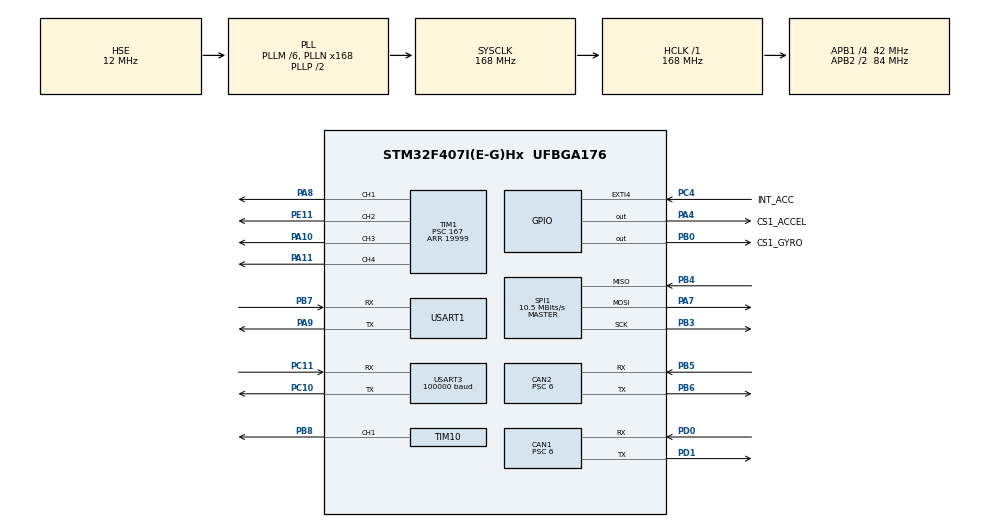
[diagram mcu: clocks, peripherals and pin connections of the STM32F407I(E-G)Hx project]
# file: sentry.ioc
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CAN1.BS1=CAN_BS1_3TQ
CAN1.BS2=CAN_BS2_3TQ
CAN1.CalculateBaudRate=1000000
CAN1.CalculateTimeBit=1000
CAN1.CalculateTimeQuantum=142.85714285714286
CAN1.Prescaler=6
CAN2.BS1=CAN_BS1_3TQ
CAN2.BS2=CAN_BS2_3TQ
CAN2.CalculateBaudRate=1000000
CAN2.CalculateTimeBit=1000
CAN2.CalculateTimeQuantum=142.85714285714286
CAN2.Prescaler=6
Dma.Request0=USART3_RX
Dma.Request1=USART1_TX
Dma.USART1_TX.1.Direction=DMA_MEMORY_TO_PERIPH
Dma.USART1_TX.1.FIFOMode=DMA_FIFOMODE_DISABLE
Dma.USART1_TX.1.Instance=DMA2_Stream7
Dma.USART1_TX.1.MemDataAlignment=DMA_MDATAALIGN_BYTE
Dma.USART1_TX.1.MemInc=DMA_MINC_ENABLE
Dma.USART1_TX.1.Mode=DMA_NORMAL
Dma.USART1_TX.1.PeriphDataAlignment=DMA_PDATAALIGN_BYTE
Dma.USART1_TX.1.PeriphInc=DMA_PINC_DISABLE
Dma.USART1_TX.1.Priority=DMA_PRIORITY_LOW
Dma.USART3_RX.0.Direction=DMA_PERIPH_TO_MEMORY
Dma.USART3_RX.0.FIFOMode=DMA_FIFOMODE_DISABLE
Dma.USART3_RX.0.Instance=DMA1_Stream1
Dma.USART3_RX.0.MemDataAlignment=DMA_MDATAALIGN_BYTE
Dma.USART3_RX.0.MemInc=DMA_MINC_ENABLE
Dma.USART3_RX.0.Mode=DMA_NORMAL
Dma.USART3_RX.0.PeriphDataAlignment=DMA_PDATAALIGN_BYTE
Dma.USART3_RX.0.PeriphInc=DMA_PINC_DISABLE
Dma.USART3_RX.0.Priority=DMA_PRIORITY_LOW
FREERTOS.Tasks01=defaultTask,24,128,StartDefaultTask,Default,NULL,Dynamic,NULL,NULL
Mcu.Family=STM32F4
Mcu.Name=STM32F407I(E-G)Hx
Mcu.Package=UFBGA176
NVIC.CAN1_RX0_IRQn=true\:5\:0\:false\:false\:true\:true\:true\:true\:true
NVIC.CAN1_RX1_IRQn=true\:5\:0\:false\:false\:true\:true\:true\:true\:true
NVIC.CAN2_RX0_IRQn=true\:5\:0\:false\:false\:true\:true\:true\:true\:true
NVIC.CAN2_RX1_IRQn=true\:5\:0\:false\:false\:true\:true\:true\:true\:true
NVIC.DMA1_Stream1_IRQn=true\:5\:0\:false\:false\:true\:true\:false\:true\:true
NVIC.DMA2_Stream7_IRQn=true\:5\:0\:false\:false\:true\:true\:false\:true\:true
NVIC.PriorityGroup=NVIC_PRIORITYGROUP_4
NVIC.TIM7_IRQn=true\:15\:0\:false\:false\:true\:false\:false\:true\:true
NVIC.TimeBase=TIM7_IRQn
NVIC.TimeBaseIP=TIM7
NVIC.USART1_IRQn=true\:5\:0\:false\:false\:true\:true\:true\:true\:true
NVIC.USART3_IRQn=true\:5\:0\:false\:false\:true\:true\:true\:true\:true
PA10.Signal=S_TIM1_CH3
PA11.Signal=S_TIM1_CH4
PA13.Mode=Serial_Wire
PA13.Signal=SYS_JTMS-SWDIO
PA14.Mode=Serial_Wire
PA14.Signal=SYS_JTCK-SWCLK
PA4.GPIO_Label=CS1_ACCEL
PA4.GPIO_PuPd=GPIO_PULLUP
PA4.GPIO_Speed=GPIO_SPEED_FREQ_HIGH
PA4.PinState=GPIO_PIN_SET
PA4.Signal=GPIO_Output
PA7.Mode=Full_Duplex_Master
PA7.Signal=SPI1_MOSI
PA8.Signal=S_TIM1_CH1
PA9.Mode=Asynchronous
PA9.Signal=USART1_TX
PB0.GPIO_Label=CS1_GYRO
PB0.GPIO_PuPd=GPIO_PULLUP
PB0.GPIO_Speed=GPIO_SPEED_FREQ_HIGH
PB0.Signal=GPIO_Output
PB3.Mode=Full_Duplex_Master
PB3.Signal=SPI1_SCK
PB4.Mode=Full_Duplex_Master
PB4.Signal=SPI1_MISO
PB5.Mode=CAN_Activate
PB5.Signal=CAN2_RX
PB6.Mode=CAN_Activate
PB6.Signal=CAN2_TX
PB7.Mode=Asynchronous
PB7.Signal=USART1_RX
PB8.Signal=S_TIM10_CH1
PC10.Mode=Asynchronous
PC10.Signal=USART3_TX
PC11.Mode=Asynchronous
PC11.Signal=USART3_RX
PC4.GPIO_Label=INT_ACC
PC4.GPIO_ModeDefaultEXTI=GPIO_MODE_IT_FALLING
PC4.Signal=GPXTI4
PD0.Mode=CAN_Activate
PD0.Signal=CAN1_RX
PD1.Mode=CAN_Activate
PD1.Signal=CAN1_TX
PE11.Signal=S_TIM1_CH2
PH0-OSC_IN.Mode=HSE-External-Oscillator
PH0-OSC_IN.Signal=RCC_OSC_IN
PH1-OSC_OUT.Mode=HSE-External-Oscillator
PH1-OSC_OUT.Signal=RCC_OSC_OUT
ProjectManager.HeapSize=0x200
ProjectManager.StackSize=0x400
ProjectManager.TargetToolchain=CMake
RCC.48MHZClocksFreq_Value=84000000
RCC.AHBFreq_Value=168000000
RCC.APB1CLKDivider=RCC_HCLK_DIV4
RCC.APB1Freq_Value=42000000
RCC.APB1TimFreq_Value=84000000
RCC.APB2CLKDivider=RCC_HCLK_DIV2
RCC.APB2Freq_Value=84000000
RCC.APB2TimFreq_Value=168000000
RCC.CortexFreq_Value=168000000
RCC.HCLKFreq_Value=168000000
RCC.HSE_VALUE=12000000
RCC.HSI_VALUE=16000000
RCC.LSE_VALUE=32768
RCC.PLLM=6
RCC.PLLN=168
RCC.PLLSourceVirtual=RCC_PLLSOURCE_HSE
RCC.SYSCLKFreq_VALUE=168000000
RCC.SYSCLKSource=RCC_SYSCLKSOURCE_PLLCLK
RCC.VCOOutputFreq_Value=336000000
SH.S_TIM10_CH1.0=TIM10_CH1,PWM Generation1 CH1
SH.S_TIM1_CH1.0=TIM1_CH1,PWM Generation1 CH1
SH.S_TIM1_CH2.0=TIM1_CH2,PWM Generation2 CH2
SH.S_TIM1_CH3.0=TIM1_CH3,PWM Generation3 CH3
SH.S_TIM1_CH4.0=TIM1_CH4,PWM Generation4 CH4
SPI1.BaudRatePrescaler=SPI_BAUDRATEPRESCALER_8
SPI1.CLKPhase=SPI_PHASE_2EDGE
SPI1.CalculateBaudRate=10.5 MBits/s
SPI1.Direction=SPI_DIRECTION_2LINES
SPI1.Mode=SPI_MODE_MASTER
SPI1.VirtualType=VM_MASTER
STMicroelectronics.X-CUBE-ALGOBUILD.1.4.0.LibraryCcDSPOoLibraryJjDSPOoLibrary=true
TIM1.Channel-PWM\ Generation1\ CH1=TIM_CHANNEL_1
TIM1.Channel-PWM\ Generation2\ CH2=TIM_CHANNEL_2
TIM1.Channel-PWM\ Generation3\ CH3=TIM_CHANNEL_3
TIM1.Channel-PWM\ Generation4\ CH4=TIM_CHANNEL_4
TIM1.Period=19999
TIM1.Prescaler=167
TIM10.Channel=TIM_CHANNEL_1
TIM10.Period=5000-1
TIM10.Prescaler=167
USART1.VirtualMode=VM_ASYNC
USART3.BaudRate=100000
USART3.Parity=PARITY_EVEN
USART3.VirtualMode=VM_ASYNC
USART3.WordLength=WORDLENGTH_9B
VP_FREERTOS_VS_CMSIS_V2.Mode=CMSIS_V2
VP_STMicroelectronics.X-CUBE-ALGOBUILD_VS_DSPOoLibraryJjLibrary_1.4.0_1.4.0.Mode=DSPOoLibraryJjLibrary
VP_SYS_VS_tim7.Mode=TIM7
VP_TIM10_VS_ClockSourceINT.Mode=Enable_Timer
VP_TIM1_VS_ClockSourceINT.Mode=Internal
board=custom

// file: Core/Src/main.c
/* USER CODE BEGIN Header */
/**
  ******************************************************************************
  * @file           : main.c
  * @brief          : Main program body
  ******************************************************************************
  * @attention
  *
  * Copyright (c) 2024 STMicroelectronics.
  * All rights reserved.
  *
  * This software is licensed under terms that can be found in the LICENSE file
  * in the root directory of this software component.
  * If no LICENSE file comes with this software, it is provided AS-IS.
  *
  ******************************************************************************
  */
/* USER CODE END Header */
#include "main.h"
#include "cmsis_os.h"
#include "can.h"
#include "dma.h"
#include "spi.h"
#include "tim.h"
#include "usart.h"
#include "gpio.h"

/* USER CODE BEGIN Includes */
#include "bsp_can.h"
#include "remote_control.h"
#include "string.h"
#include "robot.h"
/* USER CODE END Includes */

void SystemClock_Config(void);
void MX_FREERTOS_Init(void);

int main(void)
{

  /* MCU Configuration--------------------------------------------------------*/

  /* Reset of all peripherals, Initializes the Flash interface and the Systick. */
  HAL_Init();

  /* Configure the system clock */
  SystemClock_Config();

  /* Initialize all configured peripherals */
  MX_GPIO_Init();
  MX_DMA_Init();
  MX_CAN1_Init();
  MX_USART3_UART_Init();
  MX_USART1_UART_Init();
  MX_CAN2_Init();
  MX_SPI1_Init();
  MX_TIM10_Init();
  MX_TIM1_Init();
  /* USER CODE BEGIN 2 */
  RobotInit();
  /* USER CODE END 2 */

  /* Init scheduler */
  osKernelInitialize();

  /* Call init function for freertos objects (in cmsis_os2.c) */
  MX_FREERTOS_Init();

  /* Start scheduler */
  osKernelStart();

  /* We should never get here as control is now taken by the scheduler */

  /* Infinite loop */
  while (1)
  {

  }
}

void SystemClock_Config(void)
{
  RCC_OscInitTypeDef RCC_OscInitStruct = {0};
  RCC_ClkInitTypeDef RCC_ClkInitStruct = {0};

  /** Configure the main internal regulator output voltage
  */
  __HAL_RCC_PWR_CLK_ENABLE();
  __HAL_PWR_VOLTAGESCALING_CONFIG(PWR_REGULATOR_VOLTAGE_SCALE1);

  /** Initializes the RCC Oscillators according to the specified parameters
  * in the RCC_OscInitTypeDef structure.
  */
  RCC_OscInitStruct.OscillatorType = RCC_OSCILLATORTYPE_HSE;
  RCC_OscInitStruct.HSEState = RCC_HSE_ON;
  RCC_OscInitStruct.PLL.PLLState = RCC_PLL_ON;
  RCC_OscInitStruct.PLL.PLLSource = RCC_PLLSOURCE_HSE;
  RCC_OscInitStruct.PLL.PLLM = 6;
  RCC_OscInitStruct.PLL.PLLN = 168;
  RCC_OscInitStruct.PLL.PLLP = RCC_PLLP_DIV2;
  RCC_OscInitStruct.PLL.PLLQ = 4;
  if (HAL_RCC_OscConfig(&RCC_OscInitStruct) != HAL_OK)
  {
    Error_Handler();
  }

  /** Initializes the CPU, AHB and APB buses clocks
  */
  RCC_ClkInitStruct.ClockType = RCC_CLOCKTYPE_HCLK|RCC_CLOCKTYPE_SYSCLK
                              |RCC_CLOCKTYPE_PCLK1|RCC_CLOCKTYPE_PCLK2;
  RCC_ClkInitStruct.SYSCLKSource = RCC_SYSCLKSOURCE_PLLCLK;
  RCC_ClkInitStruct.AHBCLKDivider = RCC_SYSCLK_DIV1;
  RCC_ClkInitStruct.APB1CLKDivider = RCC_HCLK_DIV4;
  RCC_ClkInitStruct.APB2CLKDivider = RCC_HCLK_DIV2;

  if (HAL_RCC_ClockConfig(&RCC_ClkInitStruct, FLASH_LATENCY_5) != HAL_OK)
  {
    Error_Handler();
  }
}

/* USER CODE BEGIN 4 */
// void HAL_UARTEx_RxEventCallback(UART_HandleTypeDef *huart, uint16_t Size)
// {
//   if(huart == &huart3)
//   {
//     sbus_to_rc(buffer);
//     memset(buffer,0,Size);

//   }

//   HAL_UARTEx_ReceiveToIdle_DMA(&huart3,buffer,sizeof(buffer));
//   __HAL_DMA_DISABLE_IT(huart->hdmarx,DMA_IT_HT);
// }
/* USER CODE END 4 */

void HAL_TIM_PeriodElapsedCallback(TIM_HandleTypeDef *htim)
{
  if (htim->Instance == TIM7) {
    HAL_IncTick();
  }
}

void Error_Handler(void)
{
  __disable_irq();
  while (1)
  {
  }
}

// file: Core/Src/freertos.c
/* USER CODE BEGIN Header */
/**
  ******************************************************************************
  * File Name          : freertos.c
  * Description        : Code for freertos applications
  ******************************************************************************
  * @attention
  *
  * Copyright (c) 2024 STMicroelectronics.
  * All rights reserved.
  *
  * This software is licensed under terms that can be found in the LICENSE file
  * in the root directory of this software component.
  * If no LICENSE file comes with this software, it is provided AS-IS.
  *
  ******************************************************************************
  */
/* USER CODE END Header */

#include "FreeRTOS.h"
#include "task.h"
#include "main.h"
#include "cmsis_os.h"

/* USER CODE BEGIN Includes */
#include "bmi088.h"
/* USER CODE END Includes */

/* Definitions for defaultTask */
osThreadId_t defaultTaskHandle;
const osThreadAttr_t defaultTask_attributes = {
  .name = "defaultTask",
  .stack_size = 128 * 4,
  .priority = (osPriority_t) osPriorityNormal,
};

/* USER CODE BEGIN FunctionPrototypes */
osThreadId_t BMI088TaskHandle;
const osThreadAttr_t BMI088Task_attributes = {
  .name = "BMI088Task",
  .stack_size = 128 * 4,
  .priority = (osPriority_t) osPriorityAboveNormal,
};
/* USER CODE END FunctionPrototypes */

void StartDefaultTask(void *argument);
void StartBMI088Task(void *argumen);

void MX_FREERTOS_Init(void); /* (MISRA C 2004 rule 8.1) */

void MX_FREERTOS_Init(void) {

  /* Create the thread(s) */
  /* creation of defaultTask */
  defaultTaskHandle = osThreadNew(StartDefaultTask, NULL, &defaultTask_attributes);
  BMI088TaskHandle = osThreadNew(StartBMI088Task, NULL, &BMI088Task_attributes);

}

void StartDefaultTask(void *argument)
{
  /* USER CODE BEGIN StartDefaultTask */

    //vTaskDelete(NULL);
  /* Infinite loop */
  for(;;)
  {

  }
  /* USER CODE END StartDefaultTask */
}

/* USER CODE BEGIN Application */
void StartBMI088Task(void *argumen)
{
  for(;;)
  {
    BMI088_Accel_Read();
    BMI088_Gyro_Read();
    osDelay(1);
  }
}
/* USER CODE END Application */
